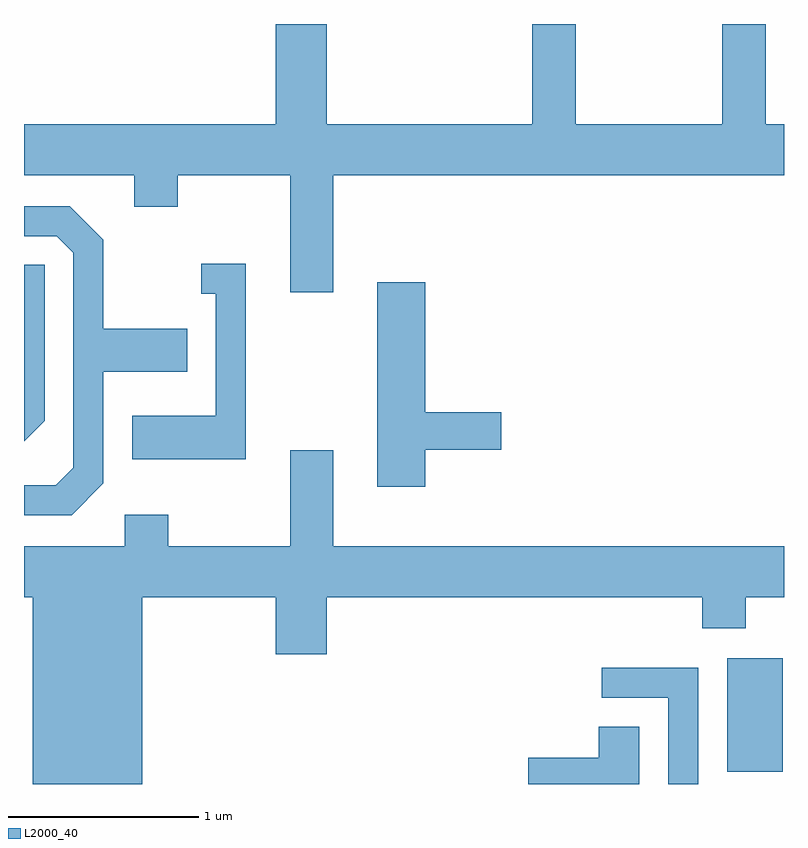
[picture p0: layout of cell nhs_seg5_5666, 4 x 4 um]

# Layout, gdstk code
import gdstk
lib = gdstk.Library(unit=1e-6, precision=1e-09)
def R(c, l, rs):  # rectangles x0, y0, x1, y1
    for r in rs: c.add(gdstk.rectangle(r[:2], r[2:], *l))
def P(c, l, *ps):  # polygons
    for p in ps: c.add(gdstk.Polygon(p, *l))
L2000_40 = (2000, 40)

nhs_seg5_5666 = lib.new_cell('nhs_seg5_5666')
R(nhs_seg5_5666, L2000_40, [(357.311,1418.136,357.604,1418.734)])
P(nhs_seg5_5666, L2000_40, [(355.239,1421.276),(357.611,1421.276),(357.611,1421.544),(357.514,1421.544),(357.514,1422.072),(357.286,1422.072),(357.286,1421.544),(356.514,1421.544),(356.514,1422.072),(356.286,1422.072),(356.286,1421.544),(355.204,1421.544),(355.204,1422.072),(354.936,1422.072),(354.936,1421.544),(353.611,1421.544),(353.611,1421.276),(354.191,1421.276),(354.191,1421.111),(354.419,1421.111),(354.419,1421.276),(355.011,1421.276),(355.011,1420.661),(355.239,1420.661)],
  [(354.029,1419.654),(354.029,1420.241),(354.469,1420.241),(354.469,1420.469),(354.029,1420.469),(354.029,1420.937),(353.852,1421.114),(353.611,1421.114),(353.611,1420.956),(353.784,1420.956),(353.871,1420.869),(353.871,1419.737),(353.779,1419.644),(353.611,1419.644),(353.611,1419.486),(353.862,1419.486)],
  [(354.779,1420.809),(354.543,1420.809),(354.543,1420.651),(354.621,1420.651),(354.621,1420.009),(354.181,1420.009),(354.181,1419.781),(354.779,1419.781)],
  [(353.719,1419.984),(353.719,1420.804),(353.611,1420.804),(353.611,1419.875)],
  [(355.724,1419.831),(356.124,1419.831),(356.124,1420.029),(355.724,1420.029),(355.724,1420.714),(355.471,1420.714),(355.471,1419.636),(355.724,1419.636)],
  [(354.234,1419.056),(354.936,1419.056),(354.936,1418.756),(355.204,1418.756),(355.204,1419.056),(357.181,1419.056),(357.181,1418.891),(357.409,1418.891),(357.409,1419.056),(357.611,1419.056),(357.611,1419.324),(355.239,1419.324),(355.239,1419.829),(355.011,1419.829),(355.011,1419.324),(354.369,1419.324),(354.369,1419.489),(354.141,1419.489),(354.141,1419.324),(353.611,1419.324),(353.611,1419.056),(353.656,1419.056),(353.656,1418.072),(354.234,1418.072)],
  [(357.159,1418.684),(356.653,1418.684),(356.653,1418.526),(357.001,1418.526),(357.001,1418.072),(357.159,1418.072)],
  [(356.849,1418.374),(356.636,1418.374),(356.636,1418.209),(356.266,1418.209),(356.266,1418.072),(356.849,1418.072)])

lib.write_gds('nhs_seg5_5666.gds')
